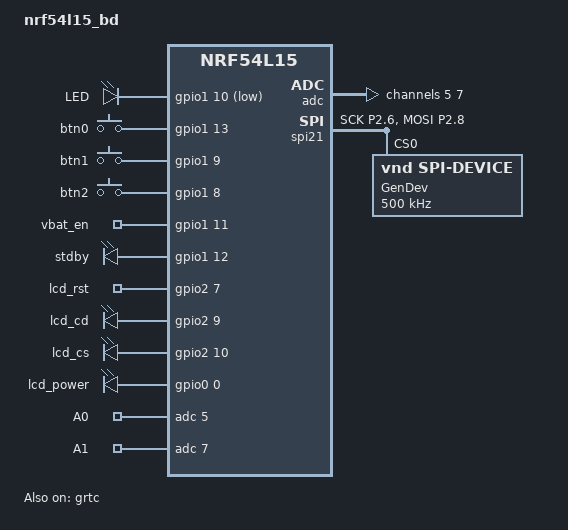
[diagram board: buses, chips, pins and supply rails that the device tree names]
/dts-v1/;
#include <nordic/nrf54l15_cpuapp.dtsi>
#include "NRF54L15_BD-pinctrl.dtsi"

/ {
	model = "nrf54l15_bd";
	compatible = "baram,NRF54L15-BD-cpuapp";

	chosen {
		zephyr,code-partition = &slot0_partition;
		zephyr,sram = &cpuapp_sram;
		zephyr,flash = &cpuapp_rram;
		zephyr,flash-controller = &rram_controller;
    // zephyr,console = &uart20;
	};

  leds {
    compatible = "gpio-leds";
    led: led_0 {
      gpios = <&gpio1 10 GPIO_ACTIVE_LOW>;
      label = "LED";
    };
  };

  buttons {
		compatible = "gpio-keys";
		btn0: btn_0 { 
			gpios = <&gpio1 13 (GPIO_ACTIVE_HIGH)>;
			label = "btn0";
		};
		btn1: btn_1 {
			gpios = <&gpio1 9 (GPIO_ACTIVE_HIGH)>;
			label = "btn1";
		};  
		btn2: btn_2 {
			gpios = <&gpio1 8 (GPIO_ACTIVE_HIGH)>;
			label = "btn2";
		};
  };

  vbat_gpio {    		
		compatible = "gpio-leds";
    vbat_en: vbat_en {			
      gpios = <&gpio1 11 GPIO_ACTIVE_HIGH>;     
			label = "vbat_en";			 
    };

		stdby: stdby {
			gpios = <&gpio1 12 GPIO_OPEN_DRAIN>;
			label = "stdby";
		};
  };

  lcd_gpio {    		
		compatible = "gpio-leds";
    lcd_rst: lcd_rst {			
      gpios = <&gpio2 7 GPIO_ACTIVE_HIGH>;     
			label = "lcd_rst";			 
    };

		lcd_cd: lcd_cd {
			gpios = <&gpio2 9 GPIO_ACTIVE_HIGH>;
			label = "lcd_cd";
		};

		lcd_cs: lcd_cs {
			gpios = <&gpio2 10 GPIO_ACTIVE_HIGH>;
			label = "lcd_cs";
		};    

		lcd_power: lcd_power {
			gpios = <&gpio0 0 GPIO_ACTIVE_HIGH>;
			label = "lcd_power";
		}; 		
  };

	zephyr,user {
		io-channels = <&adc 5>, <&adc 7>;
		io-channel-names = "A0", "A1";
	};
};

&grtc {
	owned-channels = <0 1 2 3 4 5 6 7 8 9 10 11>;
	/* Channels 7-11 reserved for Zero Latency IRQs, 3-4 for FLPR */
	child-owned-channels = <3 4 7 8 9 10 11>;
	status = "okay";
};

&cpuapp_sram {
	status = "okay";
};

#include <nordic/nrf54l15_partition.dtsi>

&clock {
  status = "okay";
};

&gpio1 {
  status = "okay";
};

&gpio2 {
  status = "okay";
};

&gpiote20 {
  status = "okay";
};

&gpiote30 {
  status = "okay";
};

&gpio0 {
	status = "okay";
};

// &uart20 {
//   status = "okay";
//   current-speed = <115200>;
//   pinctrl-0 = <&uart20_default>;
//   pinctrl-1 = <&uart20_sleep>;
//   pinctrl-names = "default", "sleep";
// };

&adc {
	status = "okay";
	#address-cells = <1>;
	#size-cells = <0>;
	status = "okay";
	channel@5 {
		reg = <5>;
		zephyr,gain = "ADC_GAIN_2_7";
		zephyr,reference = "ADC_REF_INTERNAL";
		zephyr,acquisition-time = <ADC_ACQ_TIME_DEFAULT>;
		zephyr,input-positive = <NRF_SAADC_AIN5>;
		zephyr,resolution = <12>;
	};	
	channel@7 {
		reg = <7>;
		zephyr,gain = "ADC_GAIN_2_7";
		zephyr,reference = "ADC_REF_INTERNAL";
		zephyr,acquisition-time = <ADC_ACQ_TIME_DEFAULT>;
		zephyr,input-positive = <NRF_SAADC_AIN7>; 
		zephyr,resolution = <12>;
	};		
};


&spi21 {
  compatible = "nordic,nrf-spim";
	status = "okay";
	pinctrl-0 = <&spi21_default>;
	pinctrl-1 = <&spi21_sleep>;
	pinctrl-names = "default", "sleep";
	// zephyr,pm-device-runtime-auto;
	gendev: gendev@0 {
		compatible = "vnd,spi-device";
		reg = <0>;
		spi-max-frequency = <500000>;
		label = "GenDev";
	};
};


&pinctrl {
  uart00_default: uart00_default {
    group1 {
      psels = <NRF_PSEL(UART_TX, 1, 8)>, <NRF_PSEL(UART_RX, 1, 9)>;
      low-power-enable;
    };
  };

  uart00_sleep: uart00_sleep {
    group1 {
      psels = <NRF_PSEL(UART_TX, 1, 8)>;
      bias-pull-down;
    };

    group2 {
      psels = <NRF_PSEL(UART_RX, 1, 9)>;
      low-power-enable;
    };
  };

  uart20_default: uart20_default {
    group1 {
      psels = <NRF_PSEL(UART_RX, 1, 9)>, <NRF_PSEL(UART_TX, 1, 8)>;
    };
  };

  uart20_sleep: uart20_sleep {
    group1 {
      psels = <NRF_PSEL(UART_RX, 1, 9)>;
    };
  };


	spi21_default: spi21_default {
		group1 {
				psels = <NRF_PSEL(SPIM_SCK,  2, 6)>,
						    <NRF_PSEL(SPIM_MOSI, 2, 8)>;
		};
	};

	spi21_sleep: spi21_sleep {
		group1 {
				psels = <NRF_PSEL(SPIM_SCK,  2, 6)>,
						    <NRF_PSEL(SPIM_MOSI, 2, 8)>;
				low-power-enable;
		};
	};	
};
